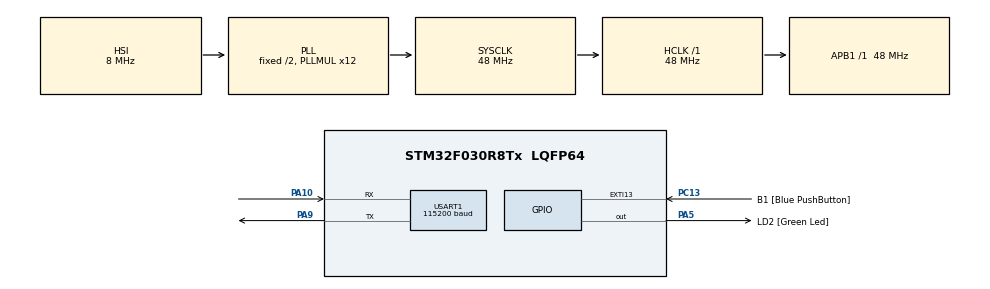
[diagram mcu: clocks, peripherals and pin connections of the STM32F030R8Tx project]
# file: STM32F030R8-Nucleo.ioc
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Mcu.Family=STM32F0
Mcu.Name=STM32F030R8Tx
Mcu.Package=LQFP64
NVIC.EXTI4_15_IRQn=true\:0\:0\:false\:false\:true\:true
NVIC.TIM6_IRQn=true\:0\:0\:false\:false\:true\:true
NVIC.USART1_IRQn=true\:0\:0\:false\:false\:true\:true
PA10.Mode=Asynchronous
PA10.Signal=USART1_RX
PA13.GPIO_Label=TMS
PA13.Signal=SYS_SWDIO
PA14.GPIO_Label=TCK
PA14.Signal=SYS_SWCLK
PA2.GPIO_Label=USART_TX
PA2.GPIO_Mode=GPIO_MODE_AF_PP
PA2.GPIO_PuPd=GPIO_NOPULL
PA2.GPIO_Speed=GPIO_SPEED_FREQ_LOW
PA2.Signal=USART2_TX
PA3.GPIO_Label=USART_RX
PA3.GPIO_Mode=GPIO_MODE_AF_PP
PA3.GPIO_PuPd=GPIO_NOPULL
PA3.GPIO_Speed=GPIO_SPEED_FREQ_LOW
PA3.Signal=USART2_RX
PA5.GPIO_Label=LD2 [Green Led]
PA5.GPIO_Mode=GPIO_MODE_OUTPUT_PP
PA5.GPIO_PuPd=GPIO_NOPULL
PA5.GPIO_Speed=GPIO_SPEED_FREQ_LOW
PA5.Signal=GPIO_Output
PA9.Mode=Asynchronous
PA9.Signal=USART1_TX
PC13.GPIO_Label=B1 [Blue PushButton]
PC13.GPIO_ModeDefaultEXTI=GPIO_MODE_IT_RISING_FALLING
PC13.Signal=GPXTI13
PC14-OSC32_IN.Signal=RCC_OSC32_IN
PC15-OSC32_OUT.Signal=RCC_OSC32_OUT
PF0-OSC_IN.Signal=RCC_OSC_IN
PF1-OSC_OUT.Signal=RCC_OSC_OUT
ProjectManager.HeapSize=0x200
ProjectManager.StackSize=0x400
ProjectManager.TargetToolchain=Makefile
RCC.AHBFreq_Value=48000000
RCC.APB1Freq_Value=48000000
RCC.APB1TimFreq_Value=48000000
RCC.HCLKFreq_Value=48000000
RCC.PLLMUL=RCC_PLL_MUL12
RCC.SYSCLKFreq_VALUE=48000000
RCC.SYSCLKSource=RCC_SYSCLKSOURCE_PLLCLK
TIM14.AutoReloadPreload=TIM_AUTORELOAD_PRELOAD_ENABLE
TIM14.Period=1
TIM14.Prescaler=47
TIM6.AutoReloadPreload=TIM_AUTORELOAD_PRELOAD_ENABLE
TIM6.Period=1
TIM6.Prescaler=2399
USART1.BaudRate=115200
USART1.VirtualMode-Asynchronous=VM_ASYNC
VP_TIM14_VS_ClockSourceINT.Mode=Enable_Timer
VP_TIM6_VS_ClockSourceINT.Mode=Enable_Timer
board=NUCLEO-F030R8

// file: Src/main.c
/**
  ******************************************************************************
  * File Name          : main.c
  * Description        : Main program body
  ******************************************************************************
  ** This notice applies to any and all portions of this file
  * that are not between comment pairs USER CODE BEGIN and
  * USER CODE END. Other portions of this file, whether
  * inserted by the user or by software development tools
  * are owned by their respective copyright owners.
  *
  * COPYRIGHT(c) 2018 STMicroelectronics
  *
  * Redistribution and use in source and binary forms, with or without modification,
  * are permitted provided that the following conditions are met:
  *   1. Redistributions of source code must retain the above copyright notice,
  *      this list of conditions and the following disclaimer.
  *   2. Redistributions in binary form must reproduce the above copyright notice,
  *      this list of conditions and the following disclaimer in the documentation
  *      and/or other materials provided with the distribution.
  *   3. Neither the name of STMicroelectronics nor the names of its contributors
  *      may be used to endorse or promote products derived from this software
  *      without specific prior written permission.
  *
  * THIS SOFTWARE IS PROVIDED BY THE COPYRIGHT HOLDERS AND CONTRIBUTORS "AS IS"
  * AND ANY EXPRESS OR IMPLIED WARRANTIES, INCLUDING, BUT NOT LIMITED TO, THE
  * IMPLIED WARRANTIES OF MERCHANTABILITY AND FITNESS FOR A PARTICULAR PURPOSE ARE
  * DISCLAIMED. IN NO EVENT SHALL THE COPYRIGHT HOLDER OR CONTRIBUTORS BE LIABLE
  * FOR ANY DIRECT, INDIRECT, INCIDENTAL, SPECIAL, EXEMPLARY, OR CONSEQUENTIAL
  * DAMAGES (INCLUDING, BUT NOT LIMITED TO, PROCUREMENT OF SUBSTITUTE GOODS OR
  * SERVICES; LOSS OF USE, DATA, OR PROFITS; OR BUSINESS INTERRUPTION) HOWEVER
  * CAUSED AND ON ANY THEORY OF LIABILITY, WHETHER IN CONTRACT, STRICT LIABILITY,
  * OR TORT (INCLUDING NEGLIGENCE OR OTHERWISE) ARISING IN ANY WAY OUT OF THE USE
  * OF THIS SOFTWARE, EVEN IF ADVISED OF THE POSSIBILITY OF SUCH DAMAGE.
  *
  ******************************************************************************
  */

#include "main.h"
#include "stm32f0xx_hal.h"
#include "tim.h"
#include "usart.h"
#include "gpio.h"

/* USER CODE BEGIN Includes */
#include "misc.h"
#include "console.h"
#include "button.h"
#include "led.h"
#include "pwm.h"
#include "timer.h"
#include "logger.h"
/* USER CODE END Includes */

/* USER CODE BEGIN PV */
/* Private variables ---------------------------------------------------------*/

/* USER CODE END PV */

void SystemClock_Config(void);

/* USER CODE BEGIN PFP */
/* Private function prototypes -----------------------------------------------*/

/* USER CODE END PFP */

/* USER CODE BEGIN 0 */

__weak int main(int argc, char **argv) {

	for (;;) {
		//led_set(LED_1, true);
		Pwm_SetDutyCycle(PWM_CHANNEL_1, 0);
		HAL_Delay(5000);
		//led_set(LED_1, false);
		Pwm_SetDutyCycle(PWM_CHANNEL_1, 255);
		HAL_Delay(5000);
	}

	while (1)
		;
	return 0;

}

/* USER CODE END 0 */

int lib_main(void)
{

  /* MCU Configuration----------------------------------------------------------*/

  /* Reset of all peripherals, Initializes the Flash interface and the Systick. */
  HAL_Init();

  /* Configure the system clock */
  SystemClock_Config();

  /* Initialize all configured peripherals */
  MX_GPIO_Init();
  MX_TIM6_Init();
  MX_USART1_UART_Init();
  MX_TIM14_Init();

  /* USER CODE BEGIN 2 */
  Console_Init();
  Logger_Init();
  Logger_Printf(LOGGER_LEVEL_INFO, "Low-level Init");
  Button_Init();
  Led_Init();
  Pwm_Init();
  Timer_Init();
  /* USER CODE END 2 */

  /* Infinite loop */
  /* USER CODE BEGIN WHILE */
  Logger_Printf(LOGGER_LEVEL_INFO, "calling main");
  main(1, (char **)&"mainApp");

  while (1)
  {
  /* USER CODE END WHILE */

  }

}

/** System Clock Configuration
*/
void SystemClock_Config(void)
{

  RCC_OscInitTypeDef RCC_OscInitStruct;
  RCC_ClkInitTypeDef RCC_ClkInitStruct;
  RCC_PeriphCLKInitTypeDef PeriphClkInit;

    /**Initializes the CPU, AHB and APB busses clocks
    */
  RCC_OscInitStruct.OscillatorType = RCC_OSCILLATORTYPE_HSI;
  RCC_OscInitStruct.HSIState = RCC_HSI_ON;
  RCC_OscInitStruct.HSICalibrationValue = 16;
  RCC_OscInitStruct.PLL.PLLState = RCC_PLL_ON;
  RCC_OscInitStruct.PLL.PLLSource = RCC_PLLSOURCE_HSI;
  RCC_OscInitStruct.PLL.PLLMUL = RCC_PLL_MUL12;
  RCC_OscInitStruct.PLL.PREDIV = RCC_PREDIV_DIV1;
  if (HAL_RCC_OscConfig(&RCC_OscInitStruct) != HAL_OK)
  {
    _Error_Handler(__FILE__, __LINE__);
  }

    /**Initializes the CPU, AHB and APB busses clocks
    */
  RCC_ClkInitStruct.ClockType = RCC_CLOCKTYPE_HCLK|RCC_CLOCKTYPE_SYSCLK
                              |RCC_CLOCKTYPE_PCLK1;
  RCC_ClkInitStruct.SYSCLKSource = RCC_SYSCLKSOURCE_PLLCLK;
  RCC_ClkInitStruct.AHBCLKDivider = RCC_SYSCLK_DIV1;
  RCC_ClkInitStruct.APB1CLKDivider = RCC_HCLK_DIV1;

  if (HAL_RCC_ClockConfig(&RCC_ClkInitStruct, FLASH_LATENCY_1) != HAL_OK)
  {
    _Error_Handler(__FILE__, __LINE__);
  }

  PeriphClkInit.PeriphClockSelection = RCC_PERIPHCLK_USART1;
  PeriphClkInit.Usart1ClockSelection = RCC_USART1CLKSOURCE_PCLK1;
  if (HAL_RCCEx_PeriphCLKConfig(&PeriphClkInit) != HAL_OK)
  {
    _Error_Handler(__FILE__, __LINE__);
  }

    /**Configure the Systick interrupt time
    */
  HAL_SYSTICK_Config(HAL_RCC_GetHCLKFreq()/1000);

    /**Configure the Systick
    */
  HAL_SYSTICK_CLKSourceConfig(SYSTICK_CLKSOURCE_HCLK);

  /* SysTick_IRQn interrupt configuration */
  HAL_NVIC_SetPriority(SysTick_IRQn, 0, 0);
}

void _Error_Handler(char * file, int line)
{
  while(1)
  {
  }
}

/************************ (C) COPYRIGHT STMicroelectronics *****END OF FILE****/
